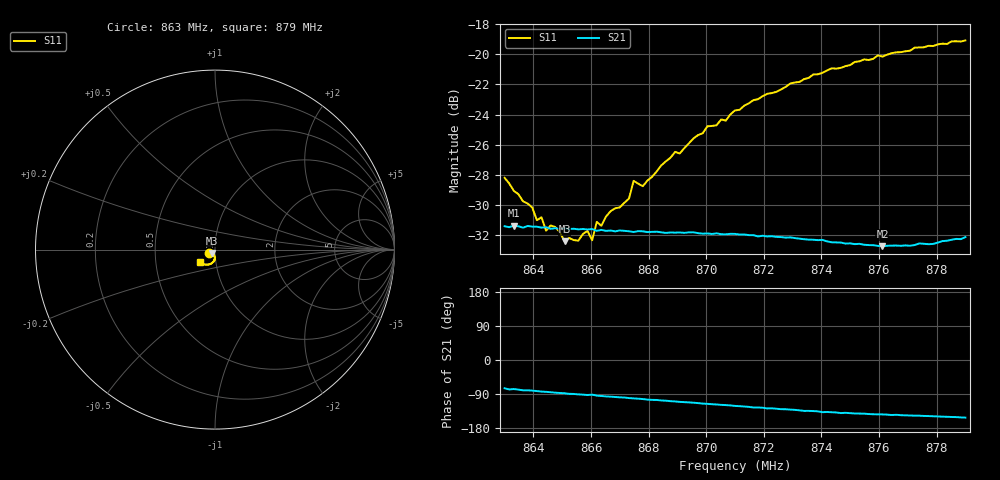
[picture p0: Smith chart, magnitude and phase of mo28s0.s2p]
# HZ S RI R 50
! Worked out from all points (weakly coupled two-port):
!   101 points, 863 MHz to 879 MHz, reference 50 ohm
!   highest |S21| = -31.34 dB at 863.32 MHz (marker M1); lowest = -32.7 dB at 876.12 MHz (marker M2)
!   lowest |S11| = -32.4 dB at 865.08 MHz (marker M3), VSWR 1.05, Z = 48.5 - j1.83 ohm
!   |S11| at or under -10 dB: start of sweep to end of sweep
!   S12 and S22 are empty: the file has one direction only
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8.63e8  -0.0355 -0.0162  0.00713 -0.026  0 0  0 0
8.6332e8  -0.0316 -0.0158  0.00626 -0.0264  0 0  0 0
8.6396e8  -0.0259 -0.0172  0.00432 -0.0265  0 0  0 0
8.6412e8  -0.0231 -0.0162  0.00374 -0.0266  0 0  0 0
8.6428e8  -0.0229 -0.0175  0.00311 -0.0265  0 0  0 0
8.6444e8  -0.0208 -0.0157  0.00278 -0.0266  0 0  0 0
8.6476e8  -0.0196 -0.0182  0.00174 -0.0265  0 0  0 0
8.6508e8  -0.0149 -0.0189  0.00106 -0.0265  0 0  0 0
8.6572e8  -0.0111 -0.0229  -0.000645 -0.0264  0 0  0 0
8.6588e8  -0.0113 -0.0235  -0.00112 -0.0263  0 0  0 0
8.6604e8  -0.00666 -0.0233  -0.000658 -0.0264  0 0  0 0
8.662e8  -0.00993 -0.026  -0.00183 -0.026  0 0  0 0
8.6636e8  -0.00684 -0.0262  -0.00225 -0.0261  0 0  0 0
8.6732e8  -0.00424 -0.033  -0.00471 -0.0255  0 0  0 0
8.6748e8  -0.00494 -0.0378  -0.00507 -0.0253  0 0  0 0
8.678e8  -0.00151 -0.0366  -0.00585 -0.0253  0 0  0 0
8.6844e8  -0.000147 -0.0429  -0.00746 -0.0246  0 0  0 0
8.71e8  -0.00601 -0.0649  -0.0132 -0.0218  0 0  0 0
8.7372e8  -0.0271 -0.0814  -0.0171 -0.0173  0 0  0 0
8.7612e8  -0.0524 -0.0831  -0.0186 -0.0137  0 0  0 0
8.7644e8  -0.0572 -0.0831  -0.0191 -0.0133  0 0  0 0
8.79e8  -0.0853 -0.0713  -0.0219 -0.0116  0 0  0 0
